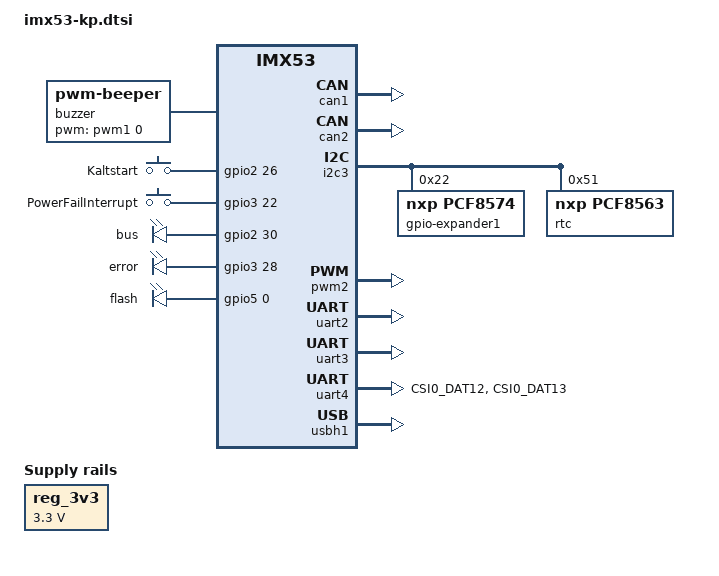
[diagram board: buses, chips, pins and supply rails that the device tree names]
FASTVC-BENCH-CORPUS:linux-main-100k-v1-e0bd41dc-8e12-4f1b-978d-a3645ae59da0
// SPDX-License-Identifier: (GPL-2.0+ OR MIT)
/*
 * Copyright 2018
 * Lukasz Majewski, DENX Software Engineering, lukma@denx.de
 */

/dts-v1/;
#include "imx53-tqma53.dtsi"
#include <dt-bindings/input/input.h>

/ {
	buzzer {
		compatible = "pwm-beeper";
		pinctrl-names = "default";
		pinctrl-0 = <&pinctrl_buzzer>;
		pwms = <&pwm1 0 500000>;
	};

	gpio-buttons {
		compatible = "gpio-keys";
		pinctrl-names = "default";
		pinctrl-0 = <&pinctrl_gpiobuttons>;

		button-kalt {
			label = "Kaltstart";
			linux,code = <KEY_F6>;
			gpios = <&gpio2 26 GPIO_ACTIVE_HIGH>;
		};

		button-pwr {
			label = "PowerFailInterrupt";
			linux,code = <KEY_F7>;
			gpios = <&gpio3 22 GPIO_ACTIVE_HIGH>;
		};
	};

	leds {
		compatible = "gpio-leds";
		pinctrl-names = "default";
		pinctrl-0 = <&pinctrl_leds>;

		led-bus {
			label = "bus";
			gpios = <&gpio2 30 GPIO_ACTIVE_HIGH>;
			linux,default-trigger = "gpio";
			default-state = "off";
		};

		led-error {
			label = "error";
			gpios = <&gpio3 28 GPIO_ACTIVE_HIGH>;
			linux,default-trigger = "gpio";
			default-state = "off";
		};

		led-flash {
			label = "flash";
			gpios = <&gpio5 0 GPIO_ACTIVE_HIGH>;
			linux,default-trigger = "heartbeat";
		};
	};

	reg_3v3: regulator-3v3 {
		compatible = "regulator-fixed";
		regulator-name = "3V3";
		regulator-min-microvolt = <3300000>;
		regulator-max-microvolt = <3300000>;
		regulator-always-on;
	};
};

&can1 {
	status = "okay";
};

&can2 {
	status = "okay";
/* bench 9061.1.0 9a31649c5344 */
/* bench 9061.1.1 98587ff2630e */
/* bench 9061.1.2 cf16dc3cb113 */
/* bench 9061.1.3 09f149dbf819 */
/* bench 9061.1.4 3b15a4ab52bb */
/* bench 9061.1.5 c6304d59f63d */
/* bench 9061.1.6 51f25fdef661 */
/* bench 9061.1.7 fc75f8627243 */
/* bench 9061.1.8 234d1f1c1fd2 */
/* bench 9061.1.9 b7a8b87ce317 */
/* bench 9061.1.10 7fc3d8b66be6 */
/* bench 9061.1.11 9ee3bb57833a */
/* bench 9061.1.12 e5596c1020fb */
/* bench 9061.1.13 e8b8c9bb519b */
};

&i2c3 {
	status = "okay";

	gpio-expander1@22 {
		compatible = "nxp,pcf8574";
		reg = <0x22>;
		interrupts = <109>;
		#gpio-cells = <2>;
		gpio-controller;
	};

	rtc@51 {
		compatible = "nxp,pcf8563";
		reg = <0x51>;
	};
};

&iomuxc {
	pinctrl-names = "default";
	pinctrl-0 = <&pinctrl_kp_common>;

	imx53-kp-common {
		pinctrl_buzzer: buzzergrp {
			fsl,pins = <
				MX53_PAD_SD1_DATA3__PWM1_PWMO 0x1e4
			>;
		};

		pinctrl_gpiobuttons: gpiobuttonsgrp {
			fsl,pins = <
				MX53_PAD_EIM_RW__GPIO2_26 0x1e4
				MX53_PAD_EIM_D22__GPIO3_22 0x1e4
			>;
		};

		pinctrl_kp_common: kpcommongrp {
			fsl,pins = <
				MX53_PAD_EIM_CS0__GPIO2_23 0x1e4
				MX53_PAD_GPIO_19__GPIO4_5  0x1e4
				MX53_PAD_PATA_DATA6__GPIO2_6 0x1e4
				MX53_PAD_PATA_DATA7__GPIO2_7 0xe0
				MX53_PAD_CSI0_DAT14__GPIO6_0 0x1e4
				MX53_PAD_CSI0_DAT16__GPIO6_2 0x1e4
				MX53_PAD_CSI0_DAT18__GPIO6_4 0x1e4
				MX53_PAD_EIM_D17__GPIO3_17 0x1e4
				MX53_PAD_EIM_D18__GPIO3_18 0x1e4
				MX53_PAD_EIM_D21__GPIO3_21 0x1e4
				MX53_PAD_EIM_D29__GPIO3_29 0x1e4
				MX53_PAD_EIM_DA11__GPIO3_11 0x1e4
				MX53_PAD_EIM_DA13__GPIO3_13 0x1e4
				MX53_PAD_EIM_DA14__GPIO3_14 0x1e4
				MX53_PAD_SD1_DATA0__GPIO1_16 0x1e4
				MX53_PAD_SD1_CMD__GPIO1_18 0x1e4
				MX53_PAD_SD1_CLK__GPIO1_20 0x1e4
			>;
		};

		pinctrl_leds: ledgrp {
			fsl,pins = <
				MX53_PAD_EIM_EB2__GPIO2_30 0x1d4
				MX53_PAD_EIM_D28__GPIO3_28 0x1d4
				MX53_PAD_EIM_WAIT__GPIO5_0 0x1d4
			>;
		};

		pinctrl_uart4: uart4grp {
			fsl,pins = <
				MX53_PAD_CSI0_DAT12__UART4_TXD_MUX 0x1e4
				MX53_PAD_CSI0_DAT13__UART4_RXD_MUX 0x1e4
			>;
		};
	};
};

&pinctrl_uart1 {
	fsl,pins = <
		MX53_PAD_EIM_D23__GPIO3_23 0x1e4
		MX53_PAD_EIM_EB3__GPIO2_31 0x1e4
		MX53_PAD_EIM_D24__GPIO3_24 0x1e4
		MX53_PAD_EIM_D25__GPIO3_25 0x1e4
		MX53_PAD_EIM_D19__GPIO3_19 0x1e4
		MX53_PAD_EIM_D20__GPIO3_20 0x1e4
	>;
};

&pwm1 {
	#pwm-cells = <2>;
};

&pwm2 {
	#pwm-cells = <2>;
/* bench 11317.0.0 f380ed9bc915 */
/* bench 11317.0.1 982c855b3e5e */
/* bench 11317.0.2 b236a9851c73 */
/* bench 11317.0.3 27b40e4bfaf3 */
	status = "okay";
};

&uart2 {
	status = "okay";
};

&uart3 {
	status = "okay";
};

&uart4 {
	pinctrl-names = "default";
	pinctrl-0 = <&pinctrl_uart4>;
	status = "okay";
};

&usbh1 {
	status = "okay";
};

&usbphy0 {
	status = "disabled";
};
